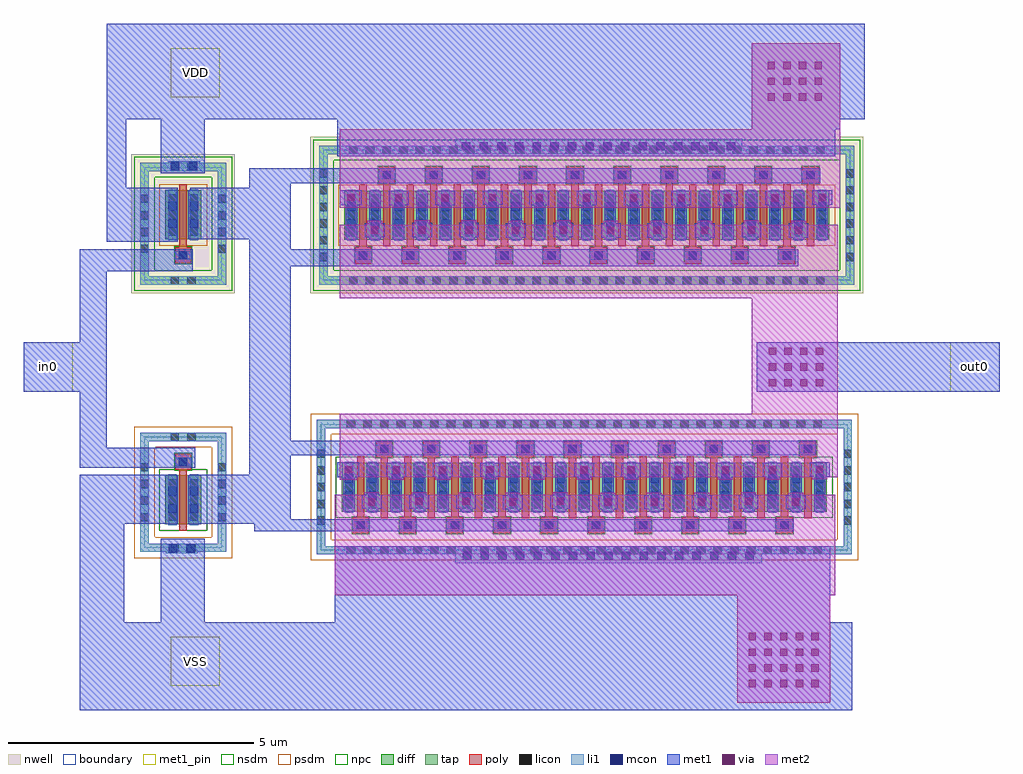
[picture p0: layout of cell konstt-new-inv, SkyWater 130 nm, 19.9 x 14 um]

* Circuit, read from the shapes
.subckt konstt-new-inv VDD VSS in0 out0
XM1 n1 in0 VSS VSS sky130_fd_pr__nfet_01v8 w=1 l=0.15
XM2 VSS n1 out0 VSS sky130_fd_pr__nfet_01v8 w=1 l=0.15 m=20
XM3 n1 in0 VDD VDD sky130_fd_pr__pfet_01v8 w=1 l=0.15
XM4 out0 n1 VDD VDD sky130_fd_pr__pfet_01v8 w=1 l=0.15 m=20
.ends

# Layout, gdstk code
import gdstk
lib = gdstk.Library(unit=1e-6, precision=1e-09)
def R(c, l, rs):  # rectangles x0, y0, x1, y1
    for r in rs: c.add(gdstk.rectangle(r[:2], r[2:], *l))
def A(c, l, x, y, w, h, nx, ny, dx, dy):  # array of equal rectangles
    R(c, l, [(x+i*dx, y+j*dy, x+i*dx+w, y+j*dy+h) for i in range(nx) for j in range(ny)])
nwell = (64, 20)
diff = (65, 20)
tap = (65, 44)
poly = (66, 20)
licon = (66, 44)
li1 = (67, 20)
mcon = (67, 44)
met1_pin = (68, 16)
met1 = (68, 20)
via = (68, 44)
met2 = (69, 20)
nsdm = (93, 44)
psdm = (94, 20)
npc = (95, 20)
boundary = (235, 4)

sky130_fd_pr__nfet_01v8_ = lib.new_cell('sky130_fd_pr__nfet_01v8_YTLFGX')
R(sky130_fd_pr__nfet_01v8_, diff, [(-4.945,-0.5,4.945,0.5)])
R(sky130_fd_pr__nfet_01v8_, tap, [(-5.455,-1.37,5.455,-1.2), (-5.455,-1.2,-5.285,1.2), (5.285,-1.2,5.455,1.2), (-5.455,1.2,5.455,1.37)])
A(sky130_fd_pr__nfet_01v8_, poly, -4.725, -0.94, 0.33, 0.33, 10, 1, 0.96, 0)
A(sky130_fd_pr__nfet_01v8_, poly, -4.155, -0.63, 0.15, 1.24, 10, 1, 0.96, 0)
A(sky130_fd_pr__nfet_01v8_, poly, -4.635, -0.61, 0.15, 1.24, 10, 1, 0.96, 0)
A(sky130_fd_pr__nfet_01v8_, poly, -4.245, 0.61, 0.33, 0.33, 10, 1, 0.96, 0)
A(sky130_fd_pr__nfet_01v8_, licon, -4.845, -1.37, 0.17, 0.17, 29, 2, 0.34, 2.57)
A(sky130_fd_pr__nfet_01v8_, licon, -4.645, -0.86, 0.17, 0.17, 10, 1, 0.96, 0)
A(sky130_fd_pr__nfet_01v8_, licon, -5.455, -0.765, 0.17, 0.17, 1, 5, 0, 0.34)
A(sky130_fd_pr__nfet_01v8_, licon, 5.285, -0.765, 0.17, 0.17, 1, 5, 0, 0.34)
A(sky130_fd_pr__nfet_01v8_, licon, -4.885, -0.425, 0.17, 0.17, 21, 3, 0.48, 0.34)
A(sky130_fd_pr__nfet_01v8_, licon, -4.165, 0.69, 0.17, 0.17, 10, 1, 0.96, 0)
A(sky130_fd_pr__nfet_01v8_, li1, -4.725, -0.86, 0.33, 0.17, 10, 1, 0.96, 0)
A(sky130_fd_pr__nfet_01v8_, li1, -4.885, -0.52, 0.17, 1.04, 21, 1, 0.48, 0)
A(sky130_fd_pr__nfet_01v8_, li1, -4.245, 0.69, 0.33, 0.17, 10, 1, 0.96, 0)
R(sky130_fd_pr__nfet_01v8_, li1, [(-5.455,-1.37,5.455,-1.2), (-5.455,-1.2,-5.285,1.2), (5.285,-1.2,5.455,1.2), (-5.455,1.2,5.455,1.37)])
A(sky130_fd_pr__nfet_01v8_, mcon, -4.645, -0.86, 0.17, 0.17, 10, 1, 0.96, 0)
A(sky130_fd_pr__nfet_01v8_, mcon, -4.885, -0.265, 0.17, 0.17, 21, 2, 0.48, 0.36)
A(sky130_fd_pr__nfet_01v8_, mcon, -4.165, 0.69, 0.17, 0.17, 10, 1, 0.96, 0)
A(sky130_fd_pr__nfet_01v8_, met1, -4.705, -0.89, 0.29, 0.23, 10, 1, 0.96, 0)
A(sky130_fd_pr__nfet_01v8_, met1, -4.915, -0.5, 0.23, 1, 21, 1, 0.48, 0)
A(sky130_fd_pr__nfet_01v8_, met1, -4.225, 0.66, 0.29, 0.23, 10, 1, 0.96, 0)
R(sky130_fd_pr__nfet_01v8_, nsdm, [(-5.07,-0.625,5.07,0.625)])
R(sky130_fd_pr__nfet_01v8_, psdm, [(-5.58,-1.495,5.58,-1.075), (-5.58,-1.075,-5.16,1.075), (5.16,-1.075,5.58,1.075), (-5.58,1.075,5.58,1.495)])
A(sky130_fd_pr__nfet_01v8_, npc, -4.745, -0.96, 0.37, 0.37, 10, 1, 0.96, 0)
A(sky130_fd_pr__nfet_01v8_, npc, -4.265, 0.59, 0.37, 0.37, 10, 1, 0.96, 0)
R(sky130_fd_pr__nfet_01v8_, boundary, [(-5.37,-1.285,5.37,1.285)])

c_sky130_fd_pr__nfet_01v8_ = lib.new_cell('sky130_fd_pr__nfet_01v8_64Z3AY')
R(c_sky130_fd_pr__nfet_01v8_, diff, [(-0.365,-0.655,0.365,0.345)])
R(c_sky130_fd_pr__nfet_01v8_, tap, [(-0.875,-1.215,0.875,-1.045), (-0.875,-1.045,-0.705,1.045), (0.705,-1.045,0.875,1.045), (-0.875,1.045,0.875,1.215)])
R(c_sky130_fd_pr__nfet_01v8_, poly, [(-0.075,-0.785,0.075,0.455), (-0.165,0.455,0.165,0.785)])
A(c_sky130_fd_pr__nfet_01v8_, licon, -0.875, -0.595, 0.17, 0.17, 1, 4, 0, 0.34)
A(c_sky130_fd_pr__nfet_01v8_, licon, 0.705, -0.595, 0.17, 0.17, 1, 4, 0, 0.34)
A(c_sky130_fd_pr__nfet_01v8_, licon, -0.305, -0.58, 0.17, 0.17, 1, 3, 0, 0.34)
A(c_sky130_fd_pr__nfet_01v8_, licon, 0.135, -0.58, 0.17, 0.17, 1, 3, 0, 0.34)
R(c_sky130_fd_pr__nfet_01v8_, licon, [(-0.255,-1.215,-0.085,-1.045), (0.085,-1.215,0.255,-1.045), (-0.085,0.535,0.085,0.705), (-0.255,1.045,-0.085,1.215), (0.085,1.045,0.255,1.215)])
R(c_sky130_fd_pr__nfet_01v8_, li1, [(-0.875,-1.215,0.875,-1.045), (-0.875,-1.045,-0.705,1.045), (0.705,-1.045,0.875,1.045), (-0.305,-0.675,-0.135,0.365), (0.135,-0.675,0.305,0.365), (-0.165,0.535,0.165,0.705), (-0.875,1.045,0.875,1.215)])
R(c_sky130_fd_pr__nfet_01v8_, mcon, [(-0.305,-0.42,-0.135,-0.25), (0.135,-0.42,0.305,-0.25), (-0.305,-0.06,-0.135,0.11), (0.135,-0.06,0.305,0.11), (-0.085,0.535,0.085,0.705)])
R(c_sky130_fd_pr__nfet_01v8_, met1, [(-0.335,-0.655,-0.105,0.345), (0.105,-0.655,0.335,0.345), (-0.145,0.505,0.145,0.735)])
R(c_sky130_fd_pr__nfet_01v8_, nsdm, [(-0.49,-0.78,0.49,0.47)])
R(c_sky130_fd_pr__nfet_01v8_, psdm, [(-1,-1.34,1,-0.92), (-1,-0.92,-0.58,0.92), (0.58,-0.92,1,0.92), (-1,0.92,1,1.34)])
R(c_sky130_fd_pr__nfet_01v8_, npc, [(-0.185,0.435,0.185,0.805)])
R(c_sky130_fd_pr__nfet_01v8_, boundary, [(-0.79,-1.13,0.79,1.13)])

sky130_fd_pr__pfet_01v8_ = lib.new_cell('sky130_fd_pr__pfet_01v8_MGS3BN')
R(sky130_fd_pr__pfet_01v8_, nwell, [(-1.055,-1.42,1.055,1.42)])
R(sky130_fd_pr__pfet_01v8_, diff, [(-0.365,-0.68,0.365,0.32)])
R(sky130_fd_pr__pfet_01v8_, tap, [(-0.875,-1.24,0.875,-1.07), (-0.875,-1.07,-0.705,1.07), (0.705,-1.07,0.875,1.07), (-0.875,1.07,0.875,1.24)])
R(sky130_fd_pr__pfet_01v8_, poly, [(-0.075,-0.81,0.075,0.475), (-0.165,0.475,0.165,0.805)])
A(sky130_fd_pr__pfet_01v8_, licon, -0.305, -0.605, 0.17, 0.17, 1, 3, 0, 0.34)
A(sky130_fd_pr__pfet_01v8_, licon, 0.135, -0.605, 0.17, 0.17, 1, 3, 0, 0.34)
A(sky130_fd_pr__pfet_01v8_, licon, -0.875, -0.595, 0.17, 0.17, 1, 4, 0, 0.34)
A(sky130_fd_pr__pfet_01v8_, licon, 0.705, -0.595, 0.17, 0.17, 1, 4, 0, 0.34)
R(sky130_fd_pr__pfet_01v8_, licon, [(-0.255,-1.24,-0.085,-1.07), (0.085,-1.24,0.255,-1.07), (-0.085,0.555,0.085,0.725), (-0.255,1.07,-0.085,1.24), (0.085,1.07,0.255,1.24)])
R(sky130_fd_pr__pfet_01v8_, li1, [(-0.875,-1.24,0.875,-1.07), (-0.875,-1.07,-0.705,1.07), (0.705,-1.07,0.875,1.07), (-0.305,-0.7,-0.135,0.34), (0.135,-0.7,0.305,0.34), (-0.165,0.555,0.165,0.725), (-0.875,1.07,0.875,1.24)])
R(sky130_fd_pr__pfet_01v8_, mcon, [(-0.305,-0.445,-0.135,-0.275), (0.135,-0.445,0.305,-0.275), (-0.305,-0.085,-0.135,0.085), (0.135,-0.085,0.305,0.085), (-0.085,0.555,0.085,0.725)])
R(sky130_fd_pr__pfet_01v8_, met1, [(-0.335,-0.68,-0.105,0.32), (0.105,-0.68,0.335,0.32), (-0.145,0.525,0.145,0.755)])
R(sky130_fd_pr__pfet_01v8_, nsdm, [(-1,-1.365,1,-0.945), (-1,-0.945,-0.58,0.945), (0.58,-0.945,1,0.945), (-1,0.945,1,1.365)])
R(sky130_fd_pr__pfet_01v8_, psdm, [(-0.49,-0.805,0.49,0.445)])
R(sky130_fd_pr__pfet_01v8_, npc, [(-0.185,0.455,0.185,0.825)])
R(sky130_fd_pr__pfet_01v8_, boundary, [(-0.79,-1.155,0.79,1.155)])

c_sky130_fd_pr__pfet_01v8_ = lib.new_cell('sky130_fd_pr__pfet_01v8_8DVCWJ')
R(c_sky130_fd_pr__pfet_01v8_, nwell, [(-5.635,-1.595,5.635,1.595)])
R(c_sky130_fd_pr__pfet_01v8_, diff, [(-4.945,-0.5,4.945,0.5)])
R(c_sky130_fd_pr__pfet_01v8_, tap, [(-5.455,-1.415,5.455,-1.245), (-5.455,-1.245,-5.285,1.245), (5.285,-1.245,5.455,1.245), (-5.455,1.245,5.455,1.415)])
A(c_sky130_fd_pr__pfet_01v8_, poly, -4.725, -0.985, 0.33, 0.33, 10, 1, 0.96, 0)
A(c_sky130_fd_pr__pfet_01v8_, poly, -4.635, -0.655, 0.15, 1.285, 10, 1, 0.96, 0)
A(c_sky130_fd_pr__pfet_01v8_, poly, -4.155, -0.63, 0.15, 1.285, 10, 1, 0.96, 0)
A(c_sky130_fd_pr__pfet_01v8_, poly, -4.245, 0.655, 0.33, 0.33, 10, 1, 0.96, 0)
A(c_sky130_fd_pr__pfet_01v8_, licon, -4.845, -1.415, 0.17, 0.17, 29, 2, 0.34, 2.66)
A(c_sky130_fd_pr__pfet_01v8_, licon, -5.455, -0.935, 0.17, 0.17, 1, 6, 0, 0.34)
A(c_sky130_fd_pr__pfet_01v8_, licon, 5.285, -0.935, 0.17, 0.17, 1, 6, 0, 0.34)
A(c_sky130_fd_pr__pfet_01v8_, licon, -4.645, -0.905, 0.17, 0.17, 10, 1, 0.96, 0)
A(c_sky130_fd_pr__pfet_01v8_, licon, -4.885, -0.425, 0.17, 0.17, 21, 3, 0.48, 0.34)
A(c_sky130_fd_pr__pfet_01v8_, licon, -4.165, 0.735, 0.17, 0.17, 10, 1, 0.96, 0)
A(c_sky130_fd_pr__pfet_01v8_, li1, -4.725, -0.905, 0.33, 0.17, 10, 1, 0.96, 0)
A(c_sky130_fd_pr__pfet_01v8_, li1, -4.885, -0.52, 0.17, 1.04, 21, 1, 0.48, 0)
A(c_sky130_fd_pr__pfet_01v8_, li1, -4.245, 0.735, 0.33, 0.17, 10, 1, 0.96, 0)
R(c_sky130_fd_pr__pfet_01v8_, li1, [(-5.455,-1.415,5.455,-1.245), (-5.455,-1.245,-5.285,1.245), (5.285,-1.245,5.455,1.245), (-5.455,1.245,5.455,1.415)])
A(c_sky130_fd_pr__pfet_01v8_, mcon, -4.645, -0.905, 0.17, 0.17, 10, 1, 0.96, 0)
A(c_sky130_fd_pr__pfet_01v8_, mcon, -4.885, -0.265, 0.17, 0.17, 21, 2, 0.48, 0.36)
A(c_sky130_fd_pr__pfet_01v8_, mcon, -4.165, 0.735, 0.17, 0.17, 10, 1, 0.96, 0)
A(c_sky130_fd_pr__pfet_01v8_, met1, -4.705, -0.935, 0.29, 0.23, 10, 1, 0.96, 0)
A(c_sky130_fd_pr__pfet_01v8_, met1, -4.915, -0.5, 0.23, 1, 21, 1, 0.48, 0)
A(c_sky130_fd_pr__pfet_01v8_, met1, -4.225, 0.705, 0.29, 0.23, 10, 1, 0.96, 0)
R(c_sky130_fd_pr__pfet_01v8_, nsdm, [(-5.58,-1.54,5.58,-1.12), (-5.58,-1.12,-5.16,1.12), (5.16,-1.12,5.58,1.12), (-5.58,1.12,5.58,1.54)])
R(c_sky130_fd_pr__pfet_01v8_, psdm, [(-5.07,-0.625,5.07,0.625)])
A(c_sky130_fd_pr__pfet_01v8_, npc, -4.745, -1.005, 0.37, 0.37, 10, 1, 0.96, 0)
A(c_sky130_fd_pr__pfet_01v8_, npc, -4.265, 0.635, 0.37, 0.37, 10, 1, 0.96, 0)
R(c_sky130_fd_pr__pfet_01v8_, boundary, [(-5.37,-1.33,5.37,1.33)])

konstt_new_inv = lib.new_cell('konstt-new-inv')
R(konstt_new_inv, nwell, [(13.55,-1.25,23.75,0.35), (21.95,0.35,23.75,2.1)])
R(konstt_new_inv, li1, [(15.9,-8.5,22.15,-8.2), (10,-8.3,10.65,-8.1), (10.05,-0.5,10.7,-0.3), (15.9,-0.15,21.75,0.15)])
A(konstt_new_inv, mcon, 16.06, -8.435, 0.17, 0.17, 17, 1, 0.36, 0)
A(konstt_new_inv, mcon, 16.04, -0.085, 0.17, 0.17, 16, 1, 0.36, 0)
R(konstt_new_inv, mcon, [(10.06,-8.285,10.23,-8.115), (10.42,-8.285,10.59,-8.115), (10.11,-0.485,10.28,-0.315), (10.47,-0.485,10.64,-0.315)])
R(konstt_new_inv, met1_pin, [(10.1,-11,11.1,-10), (7.1,-5,8.1,-4), (26,-5,27,-4), (10.1,1,11.1,2)])
R(konstt_new_inv, met1, [(8.25,-11.5,24,-9.7), (8.25,-9.7,9.15,-7.7), (9.9,-9.7,10.8,-8), (13.45,-9.7,23.55,-8.15), (11.8,-7.85,22.8,-7.7), (8.25,-7.7,10.2,-6.7), (10.5,-7.7,22.8,-7.6), (10.5,-7.6,12.55,-6.7), (16.875,-7.4,17.28,-7.11), (18.815,-7.4,19.22,-7.11), (19.76,-7.4,20.165,-7.11), (20.725,-7.4,21.13,-7.11), (22.64,-7.4,23.045,-7.11), (14,-7.395,14.405,-7.105), (14.965,-7.39,15.37,-7.1), (15.92,-7.39,16.325,-7.1), (17.845,-7.39,18.25,-7.1), (21.68,-7.39,22.085,-7.1), (13.5,-6.745,13.95,-6.445), (14.5,-6.745,14.905,-6.455), (15.445,-6.745,15.85,-6.455), (17.365,-6.745,17.77,-6.455), (18.33,-6.745,18.735,-6.455), (19.285,-6.745,19.69,-6.455), (20.26,-6.745,20.665,-6.455), (21.21,-6.745,21.615,-6.455), (22.17,-6.745,22.575,-6.455), (16.415,-6.74,16.82,-6.45), (23.135,-6.735,23.54,-6.445), (11.7,-6.7,12.55,-6.3), (8.25,-6.55,10.6,-6.15), (11.7,-6.3,23.25,-6), (8.25,-6.15,8.8,-5), (11.7,-6,12.55,-2.45), (7.1,-5,8.8,-4), (22.05,-5,27,-4), (8.25,-4,8.8,-2.55), (8.25,-2.55,10.55,-2.1), (11.7,-2.45,22.9,-2.1), (11.7,-2.1,12.55,-1.9), (8.8,-1.95,10.25,-0.85), (10.5,-1.9,12.55,-0.85), (16.935,-1.86,17.34,-1.57), (18.875,-1.86,19.28,-1.57), (19.82,-1.86,20.225,-1.57), (20.785,-1.86,21.19,-1.57), (22.7,-1.86,23.105,-1.57), (14.06,-1.855,14.465,-1.565), (15.025,-1.85,15.43,-1.56), (15.98,-1.85,16.385,-1.56), (17.905,-1.85,18.31,-1.56), (21.74,-1.85,22.145,-1.56), (13.55,-1.2,14,-0.9), (14.55,-1.2,14.955,-0.91), (15.495,-1.2,15.9,-0.91), (17.415,-1.2,17.82,-0.91), (18.38,-1.2,18.785,-0.91), (19.335,-1.2,19.74,-0.91), (20.31,-1.2,20.715,-0.91), (21.26,-1.2,21.665,-0.91), (22.22,-1.2,22.625,-0.91), (16.465,-1.195,16.87,-0.905), (23.185,-1.19,23.59,-0.9), (8.8,-0.85,9.2,0.55), (11.7,-0.85,12.55,-0.75), (11.7,-0.75,23.35,-0.45), (9.9,-0.55,10.8,0.55), (13.5,-0.2,23.65,0.35), (13.5,0.35,23.75,0.55), (8.8,0.55,24.25,2.5)])
A(konstt_new_inv, via, 21.885, -11.03, 0.15, 0.15, 5, 4, 0.32, 0.32)
A(konstt_new_inv, via, 22.295, -4.895, 0.15, 0.15, 4, 3, 0.32, 0.32)
A(konstt_new_inv, via, 22.27, 0.93, 0.15, 0.15, 4, 3, 0.32, 0.32)
R(konstt_new_inv, via, [(17,-7.33,17.15,-7.18), (18.94,-7.33,19.09,-7.18), (19.885,-7.33,20.035,-7.18), (20.85,-7.33,21,-7.18), (22.765,-7.33,22.915,-7.18), (14.125,-7.325,14.275,-7.175), (15.09,-7.32,15.24,-7.17), (16.045,-7.32,16.195,-7.17), (17.97,-7.32,18.12,-7.17), (21.805,-7.32,21.955,-7.17), (14.625,-6.675,14.775,-6.525), (15.57,-6.675,15.72,-6.525), (17.49,-6.675,17.64,-6.525), (18.455,-6.675,18.605,-6.525), (19.41,-6.675,19.56,-6.525), (20.385,-6.675,20.535,-6.525), (21.335,-6.675,21.485,-6.525), (22.295,-6.675,22.445,-6.525), (13.65,-6.67,13.8,-6.52), (16.54,-6.67,16.69,-6.52), (23.26,-6.665,23.41,-6.515), (17.06,-1.79,17.21,-1.64), (19,-1.79,19.15,-1.64), (19.945,-1.79,20.095,-1.64), (20.91,-1.79,21.06,-1.64), (22.825,-1.79,22.975,-1.64), (14.185,-1.785,14.335,-1.635), (15.15,-1.78,15.3,-1.63), (16.105,-1.78,16.255,-1.63), (18.03,-1.78,18.18,-1.63), (21.865,-1.78,22.015,-1.63), (14.675,-1.13,14.825,-0.98), (15.62,-1.13,15.77,-0.98), (17.54,-1.13,17.69,-0.98), (18.505,-1.13,18.655,-0.98), (19.46,-1.13,19.61,-0.98), (20.435,-1.13,20.585,-0.98), (21.385,-1.13,21.535,-0.98), (22.345,-1.13,22.495,-0.98), (13.7,-1.125,13.85,-0.975), (16.59,-1.125,16.74,-0.975), (23.31,-1.12,23.46,-0.97)])
R(konstt_new_inv, met2, [(21.65,-11.35,23.55,-9.15), (13.45,-9.15,23.65,-7.1), (14.05,-7.1,14.355,-7.055), (15.015,-7.1,15.32,-7.05), (15.97,-7.1,16.275,-7.05), (16.925,-7.1,17.23,-7.06), (17.895,-7.1,18.2,-7.05), (18.865,-7.1,19.17,-7.06), (19.81,-7.1,20.115,-7.06), (20.775,-7.1,21.08,-7.06), (21.73,-7.1,22.035,-7.05), (22.69,-7.1,22.995,-7.06), (13.55,-6.795,13.9,-6.75), (14.55,-6.795,14.855,-6.75), (15.495,-6.795,15.8,-6.75), (17.415,-6.795,17.72,-6.75), (18.38,-6.795,18.685,-6.75), (19.335,-6.795,19.64,-6.75), (20.31,-6.795,20.615,-6.75), (21.26,-6.795,21.565,-6.75), (22.22,-6.795,22.525,-6.75), (16.465,-6.79,16.77,-6.75), (23.185,-6.785,23.49,-6.75), (13.55,-6.75,23.7,-5.45), (21.95,-5.45,23.7,-3.1), (13.55,-3.1,23.7,-1.6), (14.11,-1.6,14.415,-1.515), (15.075,-1.6,15.38,-1.51), (16.03,-1.6,16.335,-1.51), (16.985,-1.6,17.29,-1.52), (17.955,-1.6,18.26,-1.51), (18.925,-1.6,19.23,-1.52), (19.87,-1.6,20.175,-1.52), (20.835,-1.6,21.14,-1.52), (21.79,-1.6,22.095,-1.51), (22.75,-1.6,23.055,-1.52), (13.55,-1.25,23.75,0.35), (21.95,0.35,23.75,2.1)])
konstt_new_inv.add(gdstk.Reference(sky130_fd_pr__nfet_01v8_, (18.535,-6.95)))
konstt_new_inv.add(gdstk.Reference(c_sky130_fd_pr__nfet_01v8_, (10.355,-7.055)))
konstt_new_inv.add(gdstk.Reference(sky130_fd_pr__pfet_01v8_, (10.355,-1.58), x_reflection=True))
konstt_new_inv.add(gdstk.Reference(c_sky130_fd_pr__pfet_01v8_, (18.585,-1.405)))
konstt_new_inv.add(gdstk.Label('VDD', (10.6,1.5), layer=68, texttype=5))
konstt_new_inv.add(gdstk.Label('VSS', (10.6,-10.5), layer=68, texttype=5))
konstt_new_inv.add(gdstk.Label('out0', (26.5,-4.5), layer=68, texttype=5))
konstt_new_inv.add(gdstk.Label('in0', (7.6,-4.5), layer=68, texttype=5))

lib.write_gds('konstt-new-inv.gds')
